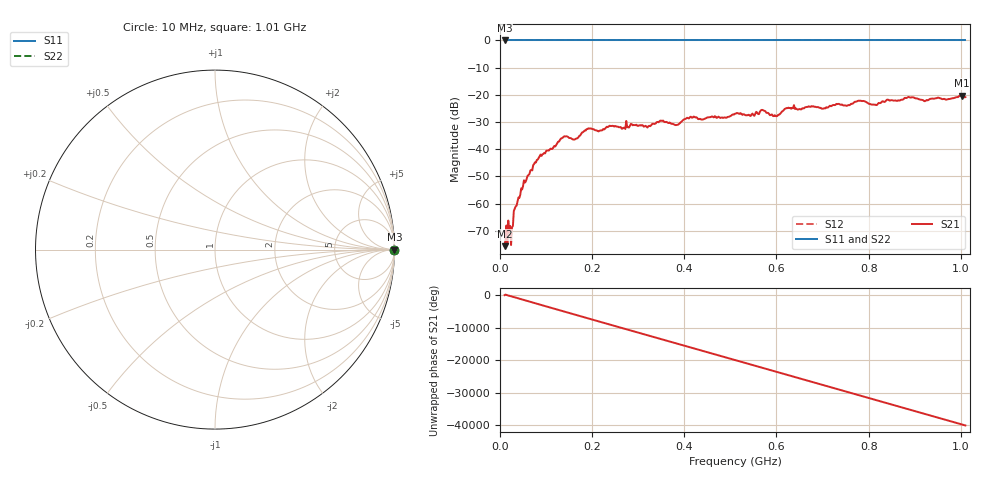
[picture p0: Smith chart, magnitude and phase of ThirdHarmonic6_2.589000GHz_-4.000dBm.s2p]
! 8/17/2025 5:31:50 AM
! C:\ANRITSUVNA\TEMP\TEMP.S2P
! CHANNEL.1
! TR.MEASUREMENT
! RAW.DATA
! RF.CORRECTION.OFF
! AVERAGING.OFF
! IF.BANDWIDTH: 5KHZ
! SWEEPTYPE:  FREQ.SWEEP(Linear)
! Reference Plane Port Info
! PORT:  PORT1  PORT2
! DISTANCE:  0  m  0  m
! TIME:  0  s  0  s
! PHASE.OFFSET:  0  deg.  0  deg.
! LOSS:  0  dB  0  dB
! REF.LOSS:  0  dB  0  dB
! REF.FREQ:  0  Hz  0  Hz
! Power Info
! POWER:  -20  dBm  -20  dBm
! EFF.POWER:  -20  dBm  -20  dBm
! SOURCE.ATTEN:  0  dB  0  dB
! TEST.ATTEN:  0  dB  0  dB
# GHZ S RI R 50.0
! FREQ.GHZ  S11RE  S11IM  S21RE  S21IM  S12RE  S12IM  S22RE  S22IM
!; PortSelection: Port_12
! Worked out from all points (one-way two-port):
!   501 points, 10 MHz to 1.01 GHz, reference 50 ohm
!   highest |S21| = -20.26 dB at 1.002 GHz (marker M1); lowest = -75.7 dB at 10 MHz (marker M2)
!   lowest |S11| = 0.0 dB at 10 MHz (marker M3)
!   |S11| at or under -10 dB: nowhere
!   |S22| runs from 0.0 to 0.0 dB; largest |S21 - S12| = 1.1
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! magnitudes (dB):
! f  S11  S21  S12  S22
! 10 MHz  0.0  -75.7  0.0  0.0
! 18 MHz  0.0  -66.3  0.0  0.0
! 24 MHz  0.0  -75.3  0.0  0.0
! 34 MHz  0.0  -61.1  0.0  0.0
! 50 MHz  0.0  -53.6  0.0  0.0
! 76 MHz  0.0  -44.8  0.0  0.0
! 136 MHz  0.0  -35.8  0.0  0.0
! 162 MHz  0.0  -36.5  0.0  0.0
! 178 MHz  0.0  -33.9  0.0  0.0
! 344 MHz  0.0  -30.1  0.0  0.0
! 384 MHz  0.0  -31.1  0.0  0.0
! 410 MHz  0.0  -28.7  0.0  0.0
! 510 MHz  0.0  -27.0  0.0  0.0
! 570 MHz  0.0  -25.6  0.0  0.0
! 598 MHz  0.0  -27.8  0.0  0.0
! 622 MHz  0.0  -24.9  0.0  0.0
! 678 MHz  0.0  -24.3  0.0  0.0
! 780 MHz  0.0  -22.2  0.0  0.0
! 814 MHz  0.0  -23.6  0.0  0.0
! 844 MHz  0.0  -22.0  0.0  0.0
! 1.002 GHz  0.0  -20.3  0.0  0.0
! 1.01 GHz  0.0  -20.8  0.0  0.0
